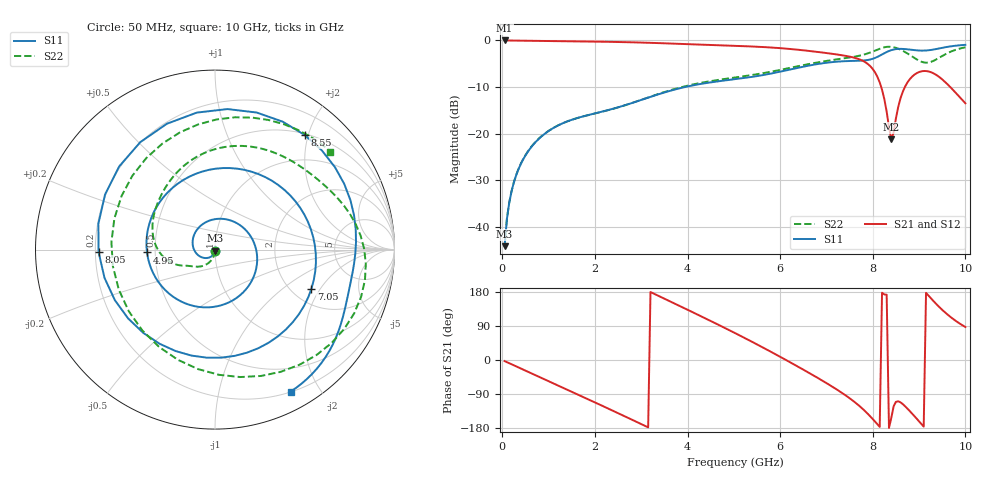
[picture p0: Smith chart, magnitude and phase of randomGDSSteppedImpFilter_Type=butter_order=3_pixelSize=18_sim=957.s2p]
! freq	dB(S11)	phase(S11)	dB(S12)	phase(S12)
!  dB(S21)	phase(S21)	dB(S22)	phase(S22)
!S-par simulation data
#  GHz  S  DB  R 50
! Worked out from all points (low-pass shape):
!   200 points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, 50 MHz to 10 GHz, reference 50 ohm
!   highest |S21| = -0.01 dB at 50 MHz (marker M1); lowest = -21.2 dB at 8.4 GHz (marker M2)
!   |S21| within 3 dB of the highest: start of sweep to 7.22 GHz
!   lowest |S11| = -44.2 dB at 50 MHz (marker M3), VSWR 1.01, Z = 50 - j0.617 ohm
!   |S11| at or under -10 dB: start of sweep to 3.951 GHz
!   |S22| runs from -44.1 to -1.4 dB; largest |S21 - S12| = 0
!   S11 on the Smith chart (normalised r, x): 50 MHz: 1.00, -0.01; 4.95 GHz: 0.45, -0.02; 7.05 GHz: 2.54, -1.66; 8.05 GHz: 0.21, -0.01; 8.55 GHz: 0.52, +1.94; 10 GHz: 0.20, -1.65
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0.05  -44.19 -90.4  -0.01 -2.9  -0.01 -2.9  -44.13 -88.7
0.2  -32.39 -104.8  -0.02 -11.3  -0.02 -11.3  -32.34 -96.4
0.5  -24.70 -128.8  -0.05 -28.0  -0.05 -28.0  -24.64 -107.8
1.15  -18.54 178.4  -0.14 -64.3  -0.14 -64.3  -18.53 -128.6
1.75  -16.30 125.0  -0.22 -97.8  -0.22 -97.8  -16.31 -142.3
2.65  -13.92 34.7  -0.37 -148.9  -0.37 -148.9  -13.93 -153.7
3.4  -11.48 -38.4  -0.58 167.7  -0.58 167.7  -11.40 -166.7
4.25  -9.40 -114.3  -0.90 117.9  -0.90 117.9  -9.18 169.9
4.95  -8.42 -177.6  -1.13 75.7  -1.13 75.7  -8.07 148.6
5.05  -8.30 173.0  -1.17 69.6  -1.17 69.6  -7.93 145.6
5.95  -6.82 84.5  -1.62 11.8  -1.62 11.8  -6.43 117.1
6.7  -5.26 12.0  -2.34 -39.4  -2.34 -39.4  -4.92 87.0
7.05  -4.73 -22.0  -2.77 -64.6  -2.77 -64.6  -4.32 70.5
7.65  -4.38 -94.4  -3.86 -115.0  -3.86 -115.0  -3.41 40.0
8.05  -3.76 -178.8  -6.88 -162.8  -6.88 -162.8  -2.18 14.6
8.35  -2.27 97.6  -18.67 -179.5  -18.67 -179.5  -1.36 -17.9
8.4  -2.09 84.9  -21.24 -152.8  -21.24 -152.8  -1.38 -24.6
8.55  -1.82 52.0  -14.26 -109.0  -14.26 -109.0  -1.77 -46.1
8.85  -2.02 8.2  -7.77 -141.5  -7.77 -141.5  -3.45 -98.1
9.2  -2.12 -19.1  -6.65 170.3  -6.65 170.3  -4.75 175.9
9.55  -1.49 -38.8  -8.82 126.7  -8.82 126.7  -3.05 97.6
10  -0.95 -62.0  -13.51 87.0  -13.51 87.0  -1.47 40.4
